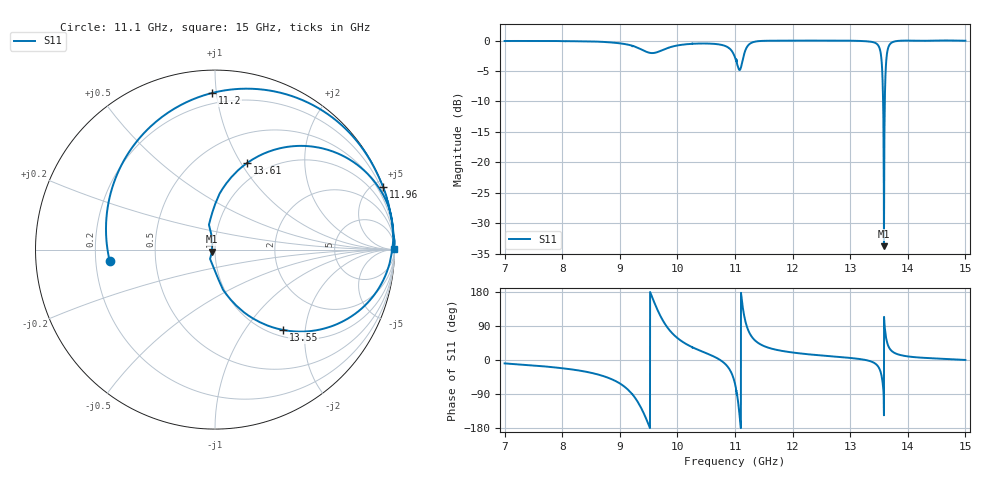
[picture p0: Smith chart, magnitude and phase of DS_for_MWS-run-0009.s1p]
! TOUCHSTONE file generated by CST DESIGN STUDIO
! Date and time: Mon Feb 10 16:44:16 2025
! Project name: C:\Work\MatlabApps\UnitCellType2OptimizationMatlab\CST\unitcell.cst
! Tree item: Tasks\Sweep1\SPara1\S-Parameters
! Header version: 2024
! Port assignment regex: !\s*Touchstone port\s*([0-9]+)\s*=\s*(CST MWS port|CST DES external port|CST DES block port)\s*(.+)\s* \(\"(.*)\"\)(\s*mode\s*([0-9]+))?.*
! Touchstone port assignment:
! Touchstone port 1 = CST DES external port 1 ("")
# GHz S MA R 50
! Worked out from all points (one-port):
!   4001 points, 7 GHz to 15 GHz, reference 50 ohm
!   lowest |S11| = -33.8 dB at 13.59 GHz (marker M1), VSWR 1.04, Z = 48.3 - j1.11 ohm
!   |S11| at or under -10 dB: 13.57086 GHz to 13.60028 GHz (29.42 MHz wide, 0.217 % of centre)
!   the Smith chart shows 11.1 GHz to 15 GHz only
!   S11 on the Smith chart (normalised r, x): 11.1 GHz: 0.26, -0.05; 11.2 GHz: 0.13, +0.97; 11.96 GHz: 0.01, +5.52; 13.55 GHz: 1.12, -1.53; 13.61 GHz: 0.81, +1.06; 15 GHz: open
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7  0.9919 -9.0
8  0.9902 -21.7
9  0.9494 -61.8
9.302  0.8772 -108.2
9.52  0.793 -178.2
9.732  0.8323 108.4
10  0.9119 57.9
10.74  0.9271 0.2
10.906  0.8599 -24.9
11  0.7282 -62.4
11.05  0.6096 -106.4
11.098  0.5904 -174.0
11.152  0.7554 122.7
11.2  0.8727 91.1
11.29  0.9607 61.6
11.414  0.99 43.8
11.964  0.9993 20.5
12  0.9996 19.8
13  0.9979 5.5
13.446  0.9509 -10.7
13.522  0.8232 -28.6
13.554  0.5879 -49.6
13.586  0.02053 -145.9
13.612  0.5135 69.7
13.648  0.8307 42.4
13.716  0.9593 24.5
14  0.9994 9.5
15  0.9967 0.2
